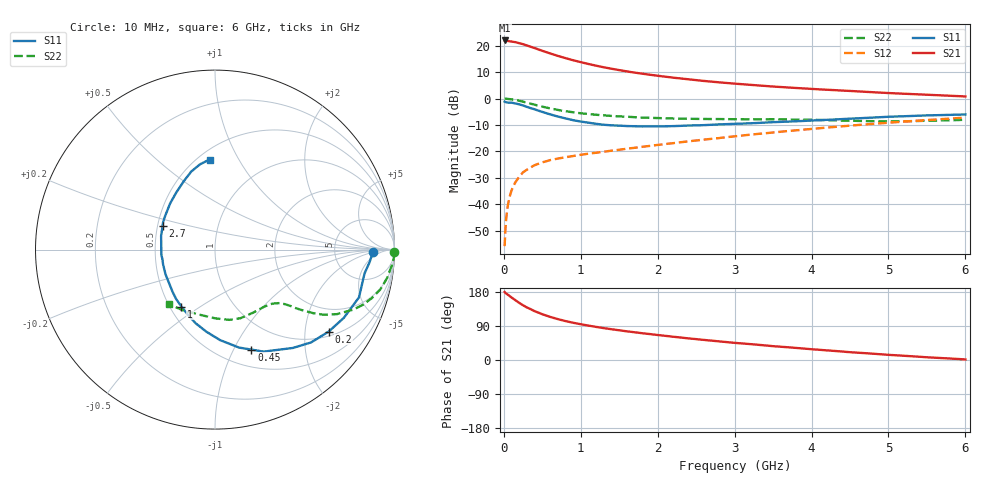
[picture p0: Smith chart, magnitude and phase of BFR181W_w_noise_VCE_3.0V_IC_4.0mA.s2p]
! (c) 2017  Infineon Technologies AG, Munich
! Infineon Technologies  Discrete & RF Semiconductors
! BFR181W
! VCE =  3.0 V,  IC =  4.0 mA
! Common Emitter S-Parameters:  Jan 2017
# GHz  S  MA  R  50
!  f  S11  S21  S12  S22
! GHz  MAG  ANG  MAG  ANG  MAG  ANG  MAG  ANG
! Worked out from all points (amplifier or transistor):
!   77 points, 10 MHz to 6 GHz, reference 50 ohm
!   highest |S21| = 22.1 dB at 10 MHz (marker M1)
!   |S21| within 3 dB of that: start of sweep to 411.3 MHz
!   unconditionally stable (mu >= 1): 1.434 GHz to 3.518 GHz
!   at 130 MHz: K = 0.14, MSG = 27.2 dB, |S12| = -32.8 dB
!   at 2.2 GHz: K = 1.09, MAG = 10.6 dB, |S12| = -16.9 dB
!   at 6 GHz: K = 0.85, MSG = 4.0 dB, |S12| = -7.2 dB
!   lowest NFmin = 0.92 dB at 450 MHz
!   S11 on the Smith chart (normalised r, x): 10 MHz: 15, -2; 200 MHz: 1.14, -2.66; 450 MHz: 0.69, -1.18; 1 GHz: 0.57, -0.42; 2.7 GHz: 0.53, +0.16; 6 GHz: 0.57, +0.76
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0.01  0.8798 -1.0  12.71 179.4  0.0016 83.8  0.9989 -0.9
0.03  0.8561 -6.2  12.53 175.5  0.0052 85.5  0.9972 -2.7
0.06  0.8422 -10.9  12.36 171.1  0.0109 83.4  0.9865 -5.6
0.1  0.8451 -18.4  12.14 164.9  0.0182 81.3  0.9726 -9.3
0.15  0.8124 -27.9  11.8 157.8  0.026 75.1  0.947 -13.6
0.2  0.7809 -35.8  11.28 150.7  0.0332 71.7  0.9135 -17.3
0.25  0.7444 -44.0  10.79 144.4  0.0403 67.6  0.8778 -20.6
0.3  0.6992 -51.6  10.2 138.6  0.0451 64.6  0.8393 -23.5
0.4  0.6298 -64.5  9.119 128.8  0.0549 59.4  0.7686 -27.9
0.45  0.5929 -70.0  8.582 125.0  0.0584 57.9  0.7373 -29.3
0.6  0.5055 -86.7  7.232 113.9  0.0684 54.4  0.6555 -32.8
0.7  0.4596 -96.1  6.487 108.0  0.0732 53.9  0.6134 -34.1
0.8  0.4236 -104.9  5.888 102.8  0.0776 53.1  0.5797 -35.2
1  0.3682 -120.5  4.928 94.4  0.0865 53.0  0.5293 -36.6
1.1  0.3507 -128.0  4.549 90.8  0.0907 53.4  0.5128 -37.2
1.5  0.3083 -153.3  3.484 78.4  0.1077 55.2  0.462 -40.2
2.1  0.2999 177.2  2.612 63.7  0.1382 58.1  0.4253 -47.3
2.7  0.3203 155.8  2.105 51.1  0.1734 59.0  0.4115 -56.7
3.1  0.3374 144.3  1.881 43.6  0.2004 58.5  0.4077 -63.1
4.1  0.3909 121.9  1.505 27.0  0.2752 54.8  0.395 -80.7
5.1  0.4594 105.5  1.261 12.4  0.3588 47.7  0.3726 -105.9
6  0.5027 93.4  1.104 1.5  0.4369 39.5  0.3988 -130.2
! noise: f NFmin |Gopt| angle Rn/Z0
0.45  0.92  0.39  16  0.24
0.9  0.97  0.36  31  0.24
1.9  1.4  0.2  79  0.2
2.4  1.56  0.17  94  0.22
